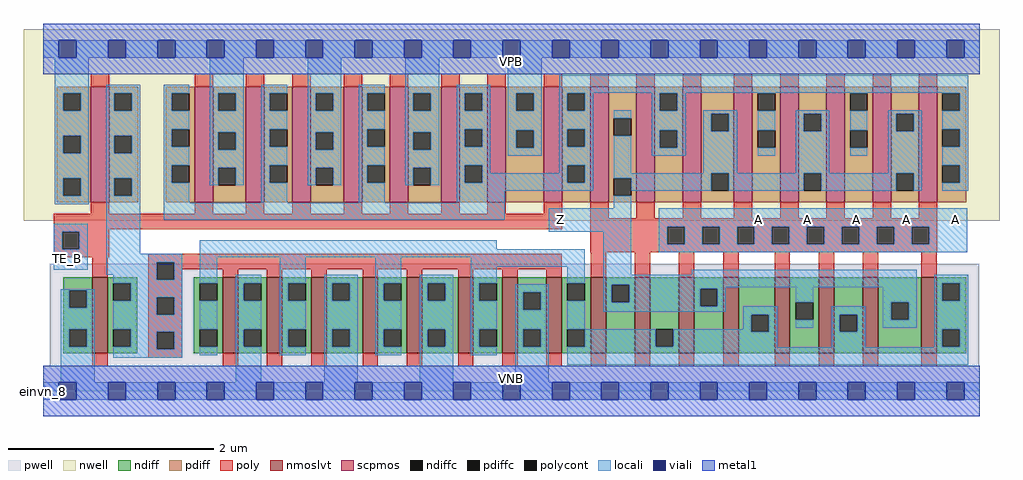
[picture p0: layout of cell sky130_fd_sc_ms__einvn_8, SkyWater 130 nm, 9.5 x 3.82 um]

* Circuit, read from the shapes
.subckt sky130_fd_sc_ms__einvn_8 A TE_B VGND VNB VPB VPWR Z
XM1 n1 TE_B VGND VNB sky130_fd_pr__nfet_01v8_lvt w=0.74 l=0.15
XM2 VGND n1 n2 VNB sky130_fd_pr__nfet_01v8_lvt w=0.74 l=0.15 m=8
XM3 Z A n2 VNB sky130_fd_pr__nfet_01v8_lvt w=0.74 l=0.15 m=8
XM4 n1 TE_B VPWR VPB sky130_fd_pr__pfet_01v8 w=1.12 l=0.18
XM5 VPWR TE_B n3 VPB sky130_fd_pr__pfet_01v8 w=1.12 l=0.18 m=8
XM6 Z A n3 VPB sky130_fd_pr__pfet_01v8 w=1.12 l=0.18 m=8
.ends

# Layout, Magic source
magic
tech sky130A
magscale 1 2
<< nwell >>
rect -38 332 1862 704
<< pwell >>
rect 13 49 1823 248
rect 0 0 1824 49
<< scpmos >>
rect 93 368 129 592
rect 295 368 331 592
rect 395 368 431 592
rect 485 368 521 592
rect 585 368 621 592
rect 675 368 711 592
rect 775 368 811 592
rect 865 368 901 592
rect 975 368 1011 592
rect 1065 368 1101 592
rect 1155 368 1191 592
rect 1245 368 1281 592
rect 1345 368 1381 592
rect 1435 368 1471 592
rect 1525 368 1561 592
rect 1615 368 1651 592
rect 1705 368 1741 592
<< nmoslvt >>
rect 96 74 126 222
rect 350 74 380 222
rect 436 74 466 222
rect 522 74 552 222
rect 622 74 652 222
rect 708 74 738 222
rect 808 74 838 222
rect 894 74 924 222
rect 980 74 1010 222
rect 1066 74 1096 222
rect 1152 74 1182 222
rect 1238 74 1268 222
rect 1324 74 1354 222
rect 1424 74 1454 222
rect 1510 74 1540 222
rect 1596 74 1626 222
rect 1710 74 1740 222
<< ndiff >>
rect 39 196 96 222
rect 39 162 51 196
rect 85 162 96 196
rect 39 120 96 162
rect 39 86 51 120
rect 85 86 96 120
rect 39 74 96 86
rect 126 210 183 222
rect 126 176 137 210
rect 171 176 183 210
rect 126 120 183 176
rect 126 86 137 120
rect 171 86 183 120
rect 126 74 183 86
rect 293 210 350 222
rect 293 176 305 210
rect 339 176 350 210
rect 293 120 350 176
rect 293 86 305 120
rect 339 86 350 120
rect 293 74 350 86
rect 380 210 436 222
rect 380 176 391 210
rect 425 176 436 210
rect 380 120 436 176
rect 380 86 391 120
rect 425 86 436 120
rect 380 74 436 86
rect 466 210 522 222
rect 466 176 477 210
rect 511 176 522 210
rect 466 120 522 176
rect 466 86 477 120
rect 511 86 522 120
rect 466 74 522 86
rect 552 210 622 222
rect 552 176 563 210
rect 597 176 622 210
rect 552 120 622 176
rect 552 86 563 120
rect 597 86 622 120
rect 552 74 622 86
rect 652 210 708 222
rect 652 176 663 210
rect 697 176 708 210
rect 652 120 708 176
rect 652 86 663 120
rect 697 86 708 120
rect 652 74 708 86
rect 738 210 808 222
rect 738 176 749 210
rect 783 176 808 210
rect 738 120 808 176
rect 738 86 749 120
rect 783 86 808 120
rect 738 74 808 86
rect 838 210 894 222
rect 838 176 849 210
rect 883 176 894 210
rect 838 120 894 176
rect 838 86 849 120
rect 883 86 894 120
rect 838 74 894 86
rect 924 192 980 222
rect 924 158 935 192
rect 969 158 980 192
rect 924 120 980 158
rect 924 86 935 120
rect 969 86 980 120
rect 924 74 980 86
rect 1010 210 1066 222
rect 1010 176 1021 210
rect 1055 176 1066 210
rect 1010 120 1066 176
rect 1010 86 1021 120
rect 1055 86 1066 120
rect 1010 74 1066 86
rect 1096 207 1152 222
rect 1096 173 1107 207
rect 1141 173 1152 207
rect 1096 74 1152 173
rect 1182 120 1238 222
rect 1182 86 1193 120
rect 1227 86 1238 120
rect 1182 74 1238 86
rect 1268 199 1324 222
rect 1268 165 1279 199
rect 1313 165 1324 199
rect 1268 74 1324 165
rect 1354 149 1424 222
rect 1354 115 1379 149
rect 1413 115 1424 149
rect 1354 74 1424 115
rect 1454 173 1510 222
rect 1454 139 1465 173
rect 1499 139 1510 173
rect 1454 74 1510 139
rect 1540 149 1596 222
rect 1540 115 1551 149
rect 1585 115 1596 149
rect 1540 74 1596 115
rect 1626 173 1710 222
rect 1626 139 1651 173
rect 1685 139 1710 173
rect 1626 74 1710 139
rect 1740 210 1797 222
rect 1740 176 1751 210
rect 1785 176 1797 210
rect 1740 120 1797 176
rect 1740 86 1751 120
rect 1785 86 1797 120
rect 1740 74 1797 86
<< pdiff >>
rect 27 580 93 592
rect 27 546 39 580
rect 73 546 93 580
rect 27 497 93 546
rect 27 463 39 497
rect 73 463 93 497
rect 27 414 93 463
rect 27 380 39 414
rect 73 380 93 414
rect 27 368 93 380
rect 129 580 185 592
rect 129 546 139 580
rect 173 546 185 580
rect 129 497 185 546
rect 129 463 139 497
rect 173 463 185 497
rect 129 414 185 463
rect 129 380 139 414
rect 173 380 185 414
rect 129 368 185 380
rect 239 580 295 592
rect 239 546 251 580
rect 285 546 295 580
rect 239 510 295 546
rect 239 476 251 510
rect 285 476 295 510
rect 239 440 295 476
rect 239 406 251 440
rect 285 406 295 440
rect 239 368 295 406
rect 331 580 395 592
rect 331 546 341 580
rect 375 546 395 580
rect 331 504 395 546
rect 331 470 341 504
rect 375 470 395 504
rect 331 435 395 470
rect 331 401 341 435
rect 375 401 395 435
rect 331 368 395 401
rect 431 580 485 592
rect 431 546 441 580
rect 475 546 485 580
rect 431 510 485 546
rect 431 476 441 510
rect 475 476 485 510
rect 431 440 485 476
rect 431 406 441 440
rect 475 406 485 440
rect 431 368 485 406
rect 521 580 585 592
rect 521 546 531 580
rect 565 546 585 580
rect 521 504 585 546
rect 521 470 531 504
rect 565 470 585 504
rect 521 435 585 470
rect 521 401 531 435
rect 565 401 585 435
rect 521 368 585 401
rect 621 580 675 592
rect 621 546 631 580
rect 665 546 675 580
rect 621 510 675 546
rect 621 476 631 510
rect 665 476 675 510
rect 621 440 675 476
rect 621 406 631 440
rect 665 406 675 440
rect 621 368 675 406
rect 711 580 775 592
rect 711 546 721 580
rect 755 546 775 580
rect 711 504 775 546
rect 711 470 721 504
rect 755 470 775 504
rect 711 435 775 470
rect 711 401 721 435
rect 755 401 775 435
rect 711 368 775 401
rect 811 580 865 592
rect 811 546 821 580
rect 855 546 865 580
rect 811 510 865 546
rect 811 476 821 510
rect 855 476 865 510
rect 811 440 865 476
rect 811 406 821 440
rect 855 406 865 440
rect 811 368 865 406
rect 901 580 975 592
rect 901 546 921 580
rect 955 546 975 580
rect 901 508 975 546
rect 901 474 921 508
rect 955 474 975 508
rect 901 368 975 474
rect 1011 580 1065 592
rect 1011 546 1021 580
rect 1055 546 1065 580
rect 1011 510 1065 546
rect 1011 476 1021 510
rect 1055 476 1065 510
rect 1011 440 1065 476
rect 1011 406 1021 440
rect 1055 406 1065 440
rect 1011 368 1065 406
rect 1101 531 1155 592
rect 1101 497 1111 531
rect 1145 497 1155 531
rect 1101 414 1155 497
rect 1101 380 1111 414
rect 1145 380 1155 414
rect 1101 368 1155 380
rect 1191 580 1245 592
rect 1191 546 1201 580
rect 1235 546 1245 580
rect 1191 508 1245 546
rect 1191 474 1201 508
rect 1235 474 1245 508
rect 1191 368 1245 474
rect 1281 540 1345 592
rect 1281 506 1301 540
rect 1335 506 1345 540
rect 1281 424 1345 506
rect 1281 390 1301 424
rect 1335 390 1345 424
rect 1281 368 1345 390
rect 1381 580 1435 592
rect 1381 546 1391 580
rect 1425 546 1435 580
rect 1381 508 1435 546
rect 1381 474 1391 508
rect 1425 474 1435 508
rect 1381 368 1435 474
rect 1471 540 1525 592
rect 1471 506 1481 540
rect 1515 506 1525 540
rect 1471 424 1525 506
rect 1471 390 1481 424
rect 1515 390 1525 424
rect 1471 368 1525 390
rect 1561 580 1615 592
rect 1561 546 1571 580
rect 1605 546 1615 580
rect 1561 508 1615 546
rect 1561 474 1571 508
rect 1605 474 1615 508
rect 1561 368 1615 474
rect 1651 540 1705 592
rect 1651 506 1661 540
rect 1695 506 1705 540
rect 1651 424 1705 506
rect 1651 390 1661 424
rect 1695 390 1705 424
rect 1651 368 1705 390
rect 1741 580 1797 592
rect 1741 546 1751 580
rect 1785 546 1797 580
rect 1741 510 1797 546
rect 1741 476 1751 510
rect 1785 476 1797 510
rect 1741 440 1797 476
rect 1741 406 1751 440
rect 1785 406 1797 440
rect 1741 368 1797 406
<< ndiffc >>
rect 51 162 85 196
rect 51 86 85 120
rect 137 176 171 210
rect 137 86 171 120
rect 305 176 339 210
rect 305 86 339 120
rect 391 176 425 210
rect 391 86 425 120
rect 477 176 511 210
rect 477 86 511 120
rect 563 176 597 210
rect 563 86 597 120
rect 663 176 697 210
rect 663 86 697 120
rect 749 176 783 210
rect 749 86 783 120
rect 849 176 883 210
rect 849 86 883 120
rect 935 158 969 192
rect 935 86 969 120
rect 1021 176 1055 210
rect 1021 86 1055 120
rect 1107 173 1141 207
rect 1193 86 1227 120
rect 1279 165 1313 199
rect 1379 115 1413 149
rect 1465 139 1499 173
rect 1551 115 1585 149
rect 1651 139 1685 173
rect 1751 176 1785 210
rect 1751 86 1785 120
<< pdiffc >>
rect 39 546 73 580
rect 39 463 73 497
rect 39 380 73 414
rect 139 546 173 580
rect 139 463 173 497
rect 139 380 173 414
rect 251 546 285 580
rect 251 476 285 510
rect 251 406 285 440
rect 341 546 375 580
rect 341 470 375 504
rect 341 401 375 435
rect 441 546 475 580
rect 441 476 475 510
rect 441 406 475 440
rect 531 546 565 580
rect 531 470 565 504
rect 531 401 565 435
rect 631 546 665 580
rect 631 476 665 510
rect 631 406 665 440
rect 721 546 755 580
rect 721 470 755 504
rect 721 401 755 435
rect 821 546 855 580
rect 821 476 855 510
rect 821 406 855 440
rect 921 546 955 580
rect 921 474 955 508
rect 1021 546 1055 580
rect 1021 476 1055 510
rect 1021 406 1055 440
rect 1111 497 1145 531
rect 1111 380 1145 414
rect 1201 546 1235 580
rect 1201 474 1235 508
rect 1301 506 1335 540
rect 1301 390 1335 424
rect 1391 546 1425 580
rect 1391 474 1425 508
rect 1481 506 1515 540
rect 1481 390 1515 424
rect 1571 546 1605 580
rect 1571 474 1605 508
rect 1661 506 1695 540
rect 1661 390 1695 424
rect 1751 546 1785 580
rect 1751 476 1785 510
rect 1751 406 1785 440
<< poly >>
rect 93 592 129 618
rect 295 592 331 618
rect 395 592 431 618
rect 485 592 521 618
rect 585 592 621 618
rect 675 592 711 618
rect 775 592 811 618
rect 865 592 901 618
rect 975 592 1011 618
rect 1065 592 1101 618
rect 1155 592 1191 618
rect 1245 592 1281 618
rect 1345 592 1381 618
rect 1435 592 1471 618
rect 1525 592 1561 618
rect 1615 592 1651 618
rect 1705 592 1741 618
rect 93 345 129 368
rect 295 345 331 368
rect 395 345 431 368
rect 485 345 521 368
rect 585 345 621 368
rect 675 345 711 368
rect 775 345 811 368
rect 865 345 901 368
rect 975 345 1011 368
rect 21 315 1011 345
rect 1065 336 1101 368
rect 1155 336 1191 368
rect 1245 336 1281 368
rect 1345 336 1381 368
rect 1435 336 1471 368
rect 1525 336 1561 368
rect 1615 336 1651 368
rect 1705 336 1741 368
rect 1065 320 1741 336
rect 21 310 129 315
rect 21 276 37 310
rect 71 276 129 310
rect 21 260 129 276
rect 1065 286 1215 320
rect 1249 286 1283 320
rect 1317 286 1351 320
rect 1385 286 1419 320
rect 1453 286 1487 320
rect 1521 286 1555 320
rect 1589 286 1623 320
rect 1657 286 1691 320
rect 1725 286 1741 320
rect 1065 270 1741 286
rect 96 222 126 260
rect 205 251 1010 267
rect 205 217 221 251
rect 255 237 1010 251
rect 255 217 271 237
rect 350 222 380 237
rect 436 222 466 237
rect 522 222 552 237
rect 622 222 652 237
rect 708 222 738 237
rect 808 222 838 237
rect 894 222 924 237
rect 980 222 1010 237
rect 1066 222 1096 270
rect 1152 222 1182 270
rect 1238 222 1268 270
rect 1324 222 1354 270
rect 1424 222 1454 270
rect 1510 222 1540 270
rect 1596 222 1626 270
rect 1710 222 1740 270
rect 205 183 271 217
rect 205 149 221 183
rect 255 149 271 183
rect 205 115 271 149
rect 205 81 221 115
rect 255 81 271 115
rect 96 48 126 74
rect 205 65 271 81
rect 350 48 380 74
rect 436 48 466 74
rect 522 48 552 74
rect 622 48 652 74
rect 708 48 738 74
rect 808 48 838 74
rect 894 48 924 74
rect 980 48 1010 74
rect 1066 48 1096 74
rect 1152 48 1182 74
rect 1238 48 1268 74
rect 1324 48 1354 74
rect 1424 48 1454 74
rect 1510 48 1540 74
rect 1596 48 1626 74
rect 1710 48 1740 74
<< polycont >>
rect 37 276 71 310
rect 1215 286 1249 320
rect 1283 286 1317 320
rect 1351 286 1385 320
rect 1419 286 1453 320
rect 1487 286 1521 320
rect 1555 286 1589 320
rect 1623 286 1657 320
rect 1691 286 1725 320
rect 221 217 255 251
rect 221 149 255 183
rect 221 81 255 115
<< locali >>
rect 0 649 31 683
rect 65 649 127 683
rect 161 649 223 683
rect 257 649 319 683
rect 353 649 415 683
rect 449 649 511 683
rect 545 649 607 683
rect 641 649 703 683
rect 737 649 799 683
rect 833 649 895 683
rect 929 649 991 683
rect 1025 649 1087 683
rect 1121 649 1183 683
rect 1217 649 1279 683
rect 1313 649 1375 683
rect 1409 649 1471 683
rect 1505 649 1567 683
rect 1601 649 1663 683
rect 1697 649 1759 683
rect 1793 649 1824 683
rect 23 580 89 649
rect 23 546 39 580
rect 73 546 89 580
rect 23 497 89 546
rect 23 463 39 497
rect 73 463 89 497
rect 23 414 89 463
rect 23 380 39 414
rect 73 380 89 414
rect 23 364 89 380
rect 123 580 189 596
rect 123 546 139 580
rect 173 546 189 580
rect 123 497 189 546
rect 123 463 139 497
rect 173 463 189 497
rect 123 414 189 463
rect 123 380 139 414
rect 173 380 189 414
rect 21 310 87 326
rect 21 276 37 310
rect 71 276 87 310
rect 21 236 87 276
rect 123 267 189 380
rect 235 580 285 596
rect 235 546 251 580
rect 235 510 285 546
rect 235 476 251 510
rect 235 440 285 476
rect 235 406 251 440
rect 235 367 285 406
rect 325 580 391 649
rect 325 546 341 580
rect 375 546 391 580
rect 325 504 391 546
rect 325 470 341 504
rect 375 470 391 504
rect 325 435 391 470
rect 325 401 341 435
rect 375 401 391 435
rect 425 580 475 596
rect 425 546 441 580
rect 425 510 475 546
rect 425 476 441 510
rect 425 440 475 476
rect 425 406 441 440
rect 425 367 475 406
rect 515 580 581 649
rect 515 546 531 580
rect 565 546 581 580
rect 515 504 581 546
rect 515 470 531 504
rect 565 470 581 504
rect 515 435 581 470
rect 515 401 531 435
rect 565 401 581 435
rect 615 580 665 596
rect 615 546 631 580
rect 615 510 665 546
rect 615 476 631 510
rect 615 440 665 476
rect 615 406 631 440
rect 615 367 665 406
rect 705 580 771 649
rect 705 546 721 580
rect 755 546 771 580
rect 705 504 771 546
rect 705 470 721 504
rect 755 470 771 504
rect 705 435 771 470
rect 705 401 721 435
rect 755 401 771 435
rect 805 580 871 596
rect 805 546 821 580
rect 855 546 871 580
rect 805 510 871 546
rect 805 476 821 510
rect 855 476 871 510
rect 805 440 871 476
rect 905 580 971 649
rect 905 546 921 580
rect 955 546 971 580
rect 905 508 971 546
rect 905 474 921 508
rect 955 474 971 508
rect 905 458 971 474
rect 1005 581 1801 615
rect 1005 580 1071 581
rect 1005 546 1021 580
rect 1055 546 1071 580
rect 1185 580 1251 581
rect 1005 510 1071 546
rect 1005 476 1021 510
rect 1055 476 1071 510
rect 805 406 821 440
rect 855 424 871 440
rect 1005 440 1071 476
rect 1005 424 1021 440
rect 855 406 1021 424
rect 1055 406 1071 440
rect 805 390 1071 406
rect 1111 531 1145 547
rect 1111 424 1145 497
rect 1185 546 1201 580
rect 1235 546 1251 580
rect 1391 580 1425 581
rect 1185 508 1251 546
rect 1185 474 1201 508
rect 1235 474 1251 508
rect 1185 458 1251 474
rect 1285 540 1351 547
rect 1285 506 1301 540
rect 1335 506 1351 540
rect 1285 424 1351 506
rect 1571 580 1605 581
rect 1391 508 1425 546
rect 1391 458 1425 474
rect 1465 540 1531 547
rect 1465 506 1481 540
rect 1515 506 1531 540
rect 1465 424 1531 506
rect 1751 580 1801 581
rect 1571 508 1605 546
rect 1571 458 1605 474
rect 1645 540 1711 547
rect 1645 506 1661 540
rect 1695 506 1711 540
rect 1645 424 1711 506
rect 1111 414 1301 424
rect 805 367 899 390
rect 235 333 899 367
rect 1145 390 1301 414
rect 1335 390 1481 424
rect 1515 390 1661 424
rect 1695 390 1711 424
rect 1785 546 1801 580
rect 1751 510 1801 546
rect 1785 476 1801 510
rect 1751 440 1801 476
rect 1785 406 1801 440
rect 1751 390 1801 406
rect 1111 356 1145 380
rect 985 310 1145 356
rect 305 276 883 294
rect 123 251 271 267
rect 123 226 221 251
rect 137 217 221 226
rect 255 217 271 251
rect 137 210 271 217
rect 35 196 101 198
rect 35 162 51 196
rect 85 162 101 196
rect 35 120 101 162
rect 35 86 51 120
rect 85 86 101 120
rect 35 17 101 86
rect 171 183 271 210
rect 171 176 221 183
rect 137 149 221 176
rect 255 149 271 183
rect 137 120 271 149
rect 171 115 271 120
rect 171 86 221 115
rect 137 81 221 86
rect 255 81 271 115
rect 137 65 271 81
rect 305 260 1055 276
rect 305 210 339 260
rect 305 120 339 176
rect 305 70 339 86
rect 375 210 425 226
rect 375 176 391 210
rect 375 120 425 176
rect 375 86 391 120
rect 375 17 425 86
rect 461 210 511 260
rect 461 176 477 210
rect 461 120 511 176
rect 461 86 477 120
rect 461 70 511 86
rect 547 210 613 226
rect 547 176 563 210
rect 597 176 613 210
rect 547 120 613 176
rect 547 86 563 120
rect 597 86 613 120
rect 547 17 613 86
rect 647 210 697 260
rect 833 242 1055 260
rect 647 176 663 210
rect 647 120 697 176
rect 647 86 663 120
rect 647 70 697 86
rect 733 210 799 226
rect 733 176 749 210
rect 783 176 799 210
rect 733 120 799 176
rect 733 86 749 120
rect 783 86 799 120
rect 733 17 799 86
rect 833 210 883 242
rect 833 176 849 210
rect 1021 210 1055 242
rect 833 120 883 176
rect 833 86 849 120
rect 833 70 883 86
rect 919 192 985 208
rect 919 158 935 192
rect 969 158 985 192
rect 919 120 985 158
rect 919 86 935 120
rect 969 86 985 120
rect 919 17 985 86
rect 1021 120 1055 176
rect 1091 226 1145 310
rect 1199 320 1799 356
rect 1199 286 1215 320
rect 1249 286 1283 320
rect 1317 286 1351 320
rect 1385 286 1419 320
rect 1453 286 1487 320
rect 1521 286 1555 320
rect 1589 286 1623 320
rect 1657 286 1691 320
rect 1725 286 1799 320
rect 1199 270 1799 286
rect 1263 226 1701 236
rect 1091 207 1701 226
rect 1091 173 1107 207
rect 1141 202 1701 207
rect 1141 199 1329 202
rect 1141 173 1279 199
rect 1091 165 1279 173
rect 1313 165 1329 199
rect 1465 173 1499 202
rect 1091 154 1329 165
rect 1363 149 1429 165
rect 1363 120 1379 149
rect 1055 86 1193 120
rect 1227 115 1379 120
rect 1413 115 1429 149
rect 1635 173 1701 202
rect 1465 123 1499 139
rect 1535 149 1601 165
rect 1227 86 1429 115
rect 1021 85 1429 86
rect 1535 115 1551 149
rect 1585 115 1601 149
rect 1635 139 1651 173
rect 1685 139 1701 173
rect 1635 123 1701 139
rect 1735 210 1801 226
rect 1735 176 1751 210
rect 1785 176 1801 210
rect 1535 85 1601 115
rect 1735 120 1801 176
rect 1735 86 1751 120
rect 1785 86 1801 120
rect 1735 85 1801 86
rect 1021 51 1801 85
rect 0 -17 31 17
rect 65 -17 127 17
rect 161 -17 223 17
rect 257 -17 319 17
rect 353 -17 415 17
rect 449 -17 511 17
rect 545 -17 607 17
rect 641 -17 703 17
rect 737 -17 799 17
rect 833 -17 895 17
rect 929 -17 991 17
rect 1025 -17 1087 17
rect 1121 -17 1183 17
rect 1217 -17 1279 17
rect 1313 -17 1375 17
rect 1409 -17 1471 17
rect 1505 -17 1567 17
rect 1601 -17 1663 17
rect 1697 -17 1759 17
rect 1793 -17 1824 17
<< viali >>
rect 31 649 65 683
rect 127 649 161 683
rect 223 649 257 683
rect 319 649 353 683
rect 415 649 449 683
rect 511 649 545 683
rect 607 649 641 683
rect 703 649 737 683
rect 799 649 833 683
rect 895 649 929 683
rect 991 649 1025 683
rect 1087 649 1121 683
rect 1183 649 1217 683
rect 1279 649 1313 683
rect 1375 649 1409 683
rect 1471 649 1505 683
rect 1567 649 1601 683
rect 1663 649 1697 683
rect 1759 649 1793 683
rect 31 -17 65 17
rect 127 -17 161 17
rect 223 -17 257 17
rect 319 -17 353 17
rect 415 -17 449 17
rect 511 -17 545 17
rect 607 -17 641 17
rect 703 -17 737 17
rect 799 -17 833 17
rect 895 -17 929 17
rect 991 -17 1025 17
rect 1087 -17 1121 17
rect 1183 -17 1217 17
rect 1279 -17 1313 17
rect 1375 -17 1409 17
rect 1471 -17 1505 17
rect 1567 -17 1601 17
rect 1663 -17 1697 17
rect 1759 -17 1793 17
<< metal1 >>
rect 0 683 1824 715
rect 0 649 31 683
rect 65 649 127 683
rect 161 649 223 683
rect 257 649 319 683
rect 353 649 415 683
rect 449 649 511 683
rect 545 649 607 683
rect 641 649 703 683
rect 737 649 799 683
rect 833 649 895 683
rect 929 649 991 683
rect 1025 649 1087 683
rect 1121 649 1183 683
rect 1217 649 1279 683
rect 1313 649 1375 683
rect 1409 649 1471 683
rect 1505 649 1567 683
rect 1601 649 1663 683
rect 1697 649 1759 683
rect 1793 649 1824 683
rect 0 617 1824 649
rect 0 17 1824 49
rect 0 -17 31 17
rect 65 -17 127 17
rect 161 -17 223 17
rect 257 -17 319 17
rect 353 -17 415 17
rect 449 -17 511 17
rect 545 -17 607 17
rect 641 -17 703 17
rect 737 -17 799 17
rect 833 -17 895 17
rect 929 -17 991 17
rect 1025 -17 1087 17
rect 1121 -17 1183 17
rect 1217 -17 1279 17
rect 1313 -17 1375 17
rect 1409 -17 1471 17
rect 1505 -17 1567 17
rect 1601 -17 1663 17
rect 1697 -17 1759 17
rect 1793 -17 1824 17
rect 0 -49 1824 -17
<< labels >>
flabel pwell s 0 0 1824 49 0 FreeSans 200 0 0 0 VNB
port 4 nsew ground bidirectional
flabel nwell s 0 617 1824 666 0 FreeSans 200 0 0 0 VPB
port 5 nsew power bidirectional
rlabel comment s 0 0 0 0 4 einvn_8
flabel metal1 s 0 617 1824 666 0 FreeSans 340 0 0 0 VPWR
port 6 nsew power bidirectional
flabel metal1 s 0 0 1824 49 0 FreeSans 340 0 0 0 VGND
port 3 nsew ground bidirectional
flabel locali s 1375 316 1409 350 0 FreeSans 340 0 0 0 A
port 1 nsew signal input
flabel locali s 1471 316 1505 350 0 FreeSans 340 0 0 0 A
port 1 nsew signal input
flabel locali s 1567 316 1601 350 0 FreeSans 340 0 0 0 A
port 1 nsew signal input
flabel locali s 1663 316 1697 350 0 FreeSans 340 0 0 0 A
port 1 nsew signal input
flabel locali s 1759 316 1793 350 0 FreeSans 340 0 0 0 A
port 1 nsew signal input
flabel locali s 31 242 65 276 0 FreeSans 340 0 0 0 TE_B
port 2 nsew signal input
flabel locali s 991 316 1025 350 0 FreeSans 340 0 0 0 Z
port 7 nsew signal output
<< properties >>
string LEFsite unit
string LEFclass CORE
string FIXED_BBOX 0 0 1824 666
string GDS_FILE $PDKPATH/libs.ref/sky130_fd_sc_ms/gds/sky130_fd_sc_ms.gds
string LEFsymmetry X Y
string GDS_END 2320184
string GDS_START 2306630
<< end >>
